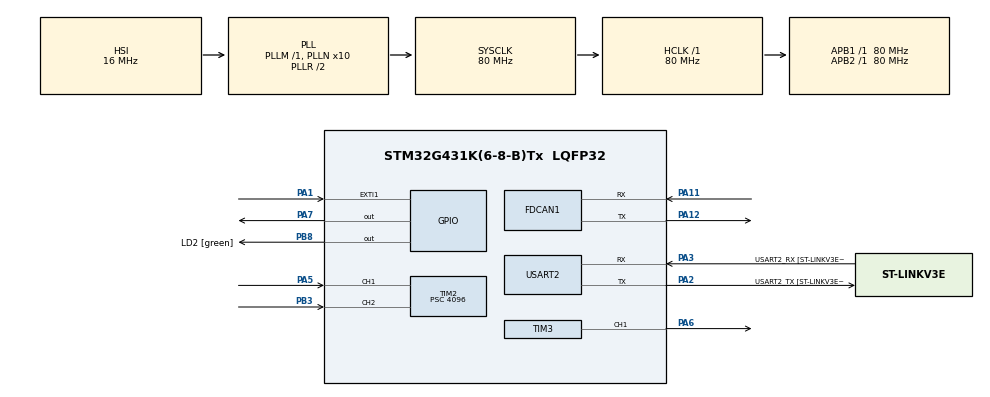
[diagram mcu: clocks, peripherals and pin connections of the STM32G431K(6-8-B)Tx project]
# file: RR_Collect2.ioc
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FDCAN1.CalculateBaudRateNominal=1000000
FDCAN1.CalculateTimeBitNominal=1000
FDCAN1.CalculateTimeQuantumNominal=62.5
FDCAN1.DataPrescaler=2
FDCAN1.DataSyncJumpWidth=2
FDCAN1.DataTimeSeg1=10
FDCAN1.DataTimeSeg2=9
FDCAN1.FrameFormat=FDCAN_FRAME_FD_BRS
FDCAN1.NominalPrescaler=5
FDCAN1.NominalSyncJumpWidth=2
FDCAN1.NominalTimeSeg1=13
FDCAN1.StdFiltersNbr=1
Mcu.Family=STM32G4
Mcu.Name=STM32G431K(6-8-B)Tx
Mcu.Package=LQFP32
NVIC.EXTI1_IRQn=true\:1\:0\:true\:false\:true\:true\:true\:true
NVIC.FDCAN1_IT0_IRQn=true\:0\:0\:false\:false\:true\:true\:true\:true
NVIC.PriorityGroup=NVIC_PRIORITYGROUP_4
PA1.GPIO_PuPd=GPIO_PULLDOWN
PA1.Signal=GPXTI1
PA11.Mode=FDCAN_Activate
PA11.Signal=FDCAN1_RX
PA12.Mode=FDCAN_Activate
PA12.Signal=FDCAN1_TX
PA13.GPIO_Label=T_SWDIO
PA13.Mode=Serial_Wire
PA13.Signal=SYS_JTMS-SWDIO
PA14.GPIO_Label=T_SWCLK
PA14.Mode=Serial_Wire
PA14.Signal=SYS_JTCK-SWCLK
PA2.GPIO_Label=USART2_TX [ST-LINKV3E_VCP_RX]
PA2.Mode=Asynchronous
PA2.Signal=USART2_TX
PA3.GPIO_Label=USART2_RX [ST-LINKV3E_VCP_TX]
PA3.Mode=Asynchronous
PA3.Signal=USART2_RX
PA5.Signal=S_TIM2_CH1
PA6.Signal=S_TIM3_CH1
PA7.Signal=GPIO_Output
PB3.Signal=S_TIM2_CH2
PB8-BOOT0.GPIO_Label=LD2 [green]
PB8-BOOT0.Signal=GPIO_Output
ProjectManager.HeapSize=0x200
ProjectManager.StackSize=0x400
ProjectManager.TargetToolchain=STM32CubeIDE
RCC.ADC12Freq_Value=80000000
RCC.AHBFreq_Value=80000000
RCC.APB1Freq_Value=80000000
RCC.APB1TimFreq_Value=80000000
RCC.APB2Freq_Value=80000000
RCC.APB2TimFreq_Value=80000000
RCC.CortexFreq_Value=80000000
RCC.EXTERNAL_CLOCK_VALUE=12288000
RCC.HCLKFreq_Value=80000000
RCC.HSE_VALUE=8000000
RCC.HSI48_VALUE=48000000
RCC.HSI_VALUE=16000000
RCC.LSE_VALUE=32768
RCC.PLLN=10
RCC.SYSCLKFreq_VALUE=80000000
RCC.SYSCLKSource=RCC_SYSCLKSOURCE_PLLCLK
RCC.USBFreq_Value=80000000
RCC.VCOOutputFreq_Value=160000000
SH.S_TIM2_CH1.0=TIM2_CH1,Encoder_Interface
SH.S_TIM2_CH2.0=TIM2_CH2,Encoder_Interface
SH.S_TIM3_CH1.0=TIM3_CH1,PWM Generation1 CH1
TIM2.CounterMode=TIM_COUNTERMODE_UP
TIM2.EncoderMode=TIM_ENCODERMODE_TI12
TIM2.Prescaler=4096
TIM3.Channel-PWM\ Generation1\ CH1=TIM_CHANNEL_1
TIM3.PeriodNoDither=99
TIM3.Prescaler=79
USART2.VirtualMode-Asynchronous=VM_ASYNC
USART2.WordLength=WORDLENGTH_8B
VP_TIM3_VS_ClockSourceINT.Mode=Internal
board=NUCLEO-G431KB

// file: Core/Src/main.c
/* USER CODE BEGIN Header */
/**
  ******************************************************************************
  * @file           : main.c
  * @brief          : Main program body
  ******************************************************************************
  * @attention
  *
  * Copyright (c) 2023 STMicroelectronics.
  * All rights reserved.
  *
  * This software is licensed under terms that can be found in the LICENSE file
  * in the root directory of this software component.
  * If no LICENSE file comes with this software, it is provided AS-IS.
  *
  ******************************************************************************
  */

/**
 *****************************
 *  回収機構の直動機構のプログラム　*
 *****************************
**/
/* USER CODE END Header */
#include "main.h"

FDCAN_HandleTypeDef hfdcan1;

TIM_HandleTypeDef htim2;
TIM_HandleTypeDef htim3;

UART_HandleTypeDef huart2;

/* USER CODE BEGIN PV */

int origin = 0; //原点を取ったかのフラグ
int cnt = 0; //エンコーダーの値をカウントするプログラム
int flag = 0; //どの操作を実行するかのフラグ

FDCAN_TxHeaderTypeDef TxHeader;
FDCAN_RxHeaderTypeDef RxHeader;
FDCAN_FilterTypeDef sFilterConfig;

uint8_t TxData[1];
uint8_t RxData[1];
uint32_t TxMailbox;
/* USER CODE END PV */

void SystemClock_Config(void);
static void MX_GPIO_Init(void);
static void MX_USART2_UART_Init(void);
static void MX_TIM3_Init(void);
static void MX_TIM2_Init(void);
static void MX_FDCAN1_Init(void);

/* USER CODE BEGIN 0 */

void HAL_GPIO_EXTI_Callback(uint16_t GPIO_Pin){//リミットスイッチを押したとき

	if (GPIO_Pin == GPIO_PIN_1 && origin == 0){
		__HAL_GPIO_EXTI_CLEAR_FLAG(GPIO_PIN_1);
		__HAL_TIM_SET_COMPARE(&htim3, TIM_CHANNEL_1, 0);
		HAL_GPIO_WritePin(GPIOA, GPIO_PIN_7, GPIO_PIN_RESET);
		origin = 1;
		flag = 5;
		HAL_TIM_Encoder_Start(&htim2, TIM_CHANNEL_ALL);

	}
}

/* USER CODE END 0 */

int main(void)
{

  /* MCU Configuration--------------------------------------------------------*/

  /* Reset of all peripherals, Initializes the Flash interface and the Systick. */
  HAL_Init();

  /* Configure the system clock */
  SystemClock_Config();

  /* Initialize all configured peripherals */
  MX_GPIO_Init();
  MX_USART2_UART_Init();
  MX_TIM3_Init();
  MX_TIM2_Init();
  MX_FDCAN1_Init();
  /* USER CODE BEGIN 2 */

  __HAL_TIM_SET_COMPARE(&htim3, TIM_CHANNEL_1, 0);
  HAL_GPIO_WritePin(GPIOA, GPIO_PIN_7, GPIO_PIN_SET);
  HAL_TIM_PWM_Start(&htim3, TIM_CHANNEL_1);

    TxHeader.Identifier = 0x513;
    TxHeader.IdType = FDCAN_STANDARD_ID;
    TxHeader.TxFrameType = FDCAN_DATA_FRAME;
    TxHeader.DataLength = FDCAN_DLC_BYTES_1;
    TxHeader.ErrorStateIndicator = FDCAN_ESI_ACTIVE;
    TxHeader.BitRateSwitch = FDCAN_BRS_ON;
    TxHeader.FDFormat = FDCAN_FD_CAN;
    TxHeader.TxEventFifoControl = FDCAN_NO_TX_EVENTS;
    TxHeader.MessageMarker = 0;

    FDCAN_FilterTypeDef sFilterConfig;
    sFilterConfig.IdType = FDCAN_STANDARD_ID;
    sFilterConfig.FilterIndex = 0;
    sFilterConfig.FilterType = FDCAN_FILTER_DUAL;
    sFilterConfig.FilterConfig = FDCAN_FILTER_TO_RXFIFO0;
    sFilterConfig.FilterID1 = 0x051;
    sFilterConfig.FilterID2 = 0x323;

    __HAL_TIM_SET_COMPARE(&htim3, TIM_CHANNEL_1, 0);
    HAL_GPIO_WritePin(GPIOA, GPIO_PIN_7, GPIO_PIN_RESET);
    HAL_TIM_PWM_Start(&htim3, TIM_CHANNEL_1);
    __HAL_GPIO_EXTI_CLEAR_FLAG(GPIO_PIN_1);
  /* USER CODE END 2 */

  /* Infinite loop */
  while (1)
  {

    /* USER CODE BEGIN 3 */
	if(flag == 1){//原点出し
		HAL_GPIO_WritePin(GPIOA, GPIO_PIN_7, GPIO_PIN_SET);
		__HAL_TIM_SET_COMPARE(&htim3, TIM_CHANNEL_1, 60);
		flag = 0;
	}

	if(flag == 5){
		HAL_GPIO_WritePin(GPIOA, GPIO_PIN_7, GPIO_PIN_RESET);
		__HAL_TIM_SET_COMPARE(&htim3, TIM_CHANNEL_1, 60);
		cnt = abs(__HAL_TIM_GET_COUNTER(&htim2));
		if(cnt == 215){
			__HAL_TIM_SET_COMPARE(&htim3, TIM_CHANNEL_1, 0);
			flag = 0;
		}
	}

	if(flag == 2){ //回収機構をリングにの上に移動
		HAL_GPIO_WritePin(GPIOA, GPIO_PIN_7, GPIO_PIN_RESET);
		__HAL_TIM_SET_COMPARE(&htim3, TIM_CHANNEL_1, 60);
		cnt = abs(__HAL_TIM_GET_COUNTER(&htim2));

		if(cnt == 600){
			__HAL_TIM_SET_COMPARE(&htim3, TIM_CHANNEL_1, 0);
			flag = 0;
		}

        // 次の行程へCAN通信
        TxHeader.Identifier = 0x322;
        TxData[0] = 0x02;
        if (HAL_FDCAN_AddMessageToTxFifoQ(&hfdcan1, &TxHeader, TxData) != HAL_OK)
        {
            Error_Handler();
        }
	}

	if(flag == 3){ //回収機構をリングを置く台に移動
		HAL_GPIO_WritePin(GPIOA, GPIO_PIN_7, GPIO_PIN_SET);
		__HAL_TIM_SET_COMPARE(&htim3, TIM_CHANNEL_1, 60);
		cnt = abs(__HAL_TIM_GET_COUNTER(&htim2));

		if(cnt == 5){
			__HAL_TIM_SET_COMPARE(&htim3, TIM_CHANNEL_1, 0);
			flag = 0;
		}

        // 次の行程へCAN通信
        TxHeader.Identifier = 0x322;
        TxData[0] = 0x03;
        if (HAL_FDCAN_AddMessageToTxFifoQ(&hfdcan1, &TxHeader, TxData) != HAL_OK)
        {
            Error_Handler();
        }
	}

	if(flag == 4){ //回収機構をリングを置く台から機構の外に移動
		HAL_GPIO_WritePin(GPIOA, GPIO_PIN_7, GPIO_PIN_RESET);
		__HAL_TIM_SET_COMPARE(&htim3, TIM_CHANNEL_1, 60);
		cnt = abs(__HAL_TIM_GET_COUNTER(&htim2));

		if(cnt == 600){
			__HAL_TIM_SET_COMPARE(&htim3, TIM_CHANNEL_1, 0);
			flag = 0;
		}

        // 次の行程へCAN通信
        TxHeader.Identifier = 0x324;
        TxData[0] = 0x02;
        if (HAL_FDCAN_AddMessageToTxFifoQ(&hfdcan1, &TxHeader, TxData) != HAL_OK)
        {
            Error_Handler();
        }
	}
  }

  /* USER CODE END 3 */
}

void SystemClock_Config(void)
{
  RCC_OscInitTypeDef RCC_OscInitStruct = {0};
  RCC_ClkInitTypeDef RCC_ClkInitStruct = {0};

  /** Configure the main internal regulator output voltage
  */
  HAL_PWREx_ControlVoltageScaling(PWR_REGULATOR_VOLTAGE_SCALE1);

  /** Initializes the RCC Oscillators according to the specified parameters
  * in the RCC_OscInitTypeDef structure.
  */
  RCC_OscInitStruct.OscillatorType = RCC_OSCILLATORTYPE_HSI;
  RCC_OscInitStruct.HSIState = RCC_HSI_ON;
  RCC_OscInitStruct.HSICalibrationValue = RCC_HSICALIBRATION_DEFAULT;
  RCC_OscInitStruct.PLL.PLLState = RCC_PLL_ON;
  RCC_OscInitStruct.PLL.PLLSource = RCC_PLLSOURCE_HSI;
  RCC_OscInitStruct.PLL.PLLM = RCC_PLLM_DIV1;
  RCC_OscInitStruct.PLL.PLLN = 10;
  RCC_OscInitStruct.PLL.PLLP = RCC_PLLP_DIV2;
  RCC_OscInitStruct.PLL.PLLQ = RCC_PLLQ_DIV2;
  RCC_OscInitStruct.PLL.PLLR = RCC_PLLR_DIV2;
  if (HAL_RCC_OscConfig(&RCC_OscInitStruct) != HAL_OK)
  {
    Error_Handler();
  }

  /** Initializes the CPU, AHB and APB buses clocks
  */
  RCC_ClkInitStruct.ClockType = RCC_CLOCKTYPE_HCLK|RCC_CLOCKTYPE_SYSCLK
                              |RCC_CLOCKTYPE_PCLK1|RCC_CLOCKTYPE_PCLK2;
  RCC_ClkInitStruct.SYSCLKSource = RCC_SYSCLKSOURCE_PLLCLK;
  RCC_ClkInitStruct.AHBCLKDivider = RCC_SYSCLK_DIV1;
  RCC_ClkInitStruct.APB1CLKDivider = RCC_HCLK_DIV1;
  RCC_ClkInitStruct.APB2CLKDivider = RCC_HCLK_DIV1;

  if (HAL_RCC_ClockConfig(&RCC_ClkInitStruct, FLASH_LATENCY_2) != HAL_OK)
  {
    Error_Handler();
  }
}

static void MX_FDCAN1_Init(void)
{

  hfdcan1.Instance = FDCAN1;
  hfdcan1.Init.ClockDivider = FDCAN_CLOCK_DIV1;
  hfdcan1.Init.FrameFormat = FDCAN_FRAME_FD_BRS;
  hfdcan1.Init.Mode = FDCAN_MODE_NORMAL;
  hfdcan1.Init.AutoRetransmission = DISABLE;
  hfdcan1.Init.TransmitPause = DISABLE;
  hfdcan1.Init.ProtocolException = DISABLE;
  hfdcan1.Init.NominalPrescaler = 5;
  hfdcan1.Init.NominalSyncJumpWidth = 2;
  hfdcan1.Init.NominalTimeSeg1 = 13;
  hfdcan1.Init.NominalTimeSeg2 = 2;
  hfdcan1.Init.DataPrescaler = 2;
  hfdcan1.Init.DataSyncJumpWidth = 2;
  hfdcan1.Init.DataTimeSeg1 = 10;
  hfdcan1.Init.DataTimeSeg2 = 9;
  hfdcan1.Init.StdFiltersNbr = 1;
  hfdcan1.Init.ExtFiltersNbr = 0;
  hfdcan1.Init.TxFifoQueueMode = FDCAN_TX_FIFO_OPERATION;
  if (HAL_FDCAN_Init(&hfdcan1) != HAL_OK)
  {
    Error_Handler();
  }

}

static void MX_TIM2_Init(void)
{

  TIM_Encoder_InitTypeDef sConfig = {0};
  TIM_MasterConfigTypeDef sMasterConfig = {0};

  htim2.Instance = TIM2;
  htim2.Init.Prescaler = 4096;
  htim2.Init.CounterMode = TIM_COUNTERMODE_UP;
  htim2.Init.Period = 4.294967295E9;
  htim2.Init.ClockDivision = TIM_CLOCKDIVISION_DIV1;
  htim2.Init.AutoReloadPreload = TIM_AUTORELOAD_PRELOAD_DISABLE;
  sConfig.EncoderMode = TIM_ENCODERMODE_TI12;
  sConfig.IC1Polarity = TIM_ICPOLARITY_RISING;
  sConfig.IC1Selection = TIM_ICSELECTION_DIRECTTI;
  sConfig.IC1Prescaler = TIM_ICPSC_DIV1;
  sConfig.IC1Filter = 0;
  sConfig.IC2Polarity = TIM_ICPOLARITY_RISING;
  sConfig.IC2Selection = TIM_ICSELECTION_DIRECTTI;
  sConfig.IC2Prescaler = TIM_ICPSC_DIV1;
  sConfig.IC2Filter = 0;
  if (HAL_TIM_Encoder_Init(&htim2, &sConfig) != HAL_OK)
  {
    Error_Handler();
  }
  sMasterConfig.MasterOutputTrigger = TIM_TRGO_RESET;
  sMasterConfig.MasterSlaveMode = TIM_MASTERSLAVEMODE_DISABLE;
  if (HAL_TIMEx_MasterConfigSynchronization(&htim2, &sMasterConfig) != HAL_OK)
  {
    Error_Handler();
  }

}

static void MX_TIM3_Init(void)
{

  TIM_ClockConfigTypeDef sClockSourceConfig = {0};
  TIM_MasterConfigTypeDef sMasterConfig = {0};
  TIM_OC_InitTypeDef sConfigOC = {0};

  htim3.Instance = TIM3;
  htim3.Init.Prescaler = 79;
  htim3.Init.CounterMode = TIM_COUNTERMODE_UP;
  htim3.Init.Period = 99;
  htim3.Init.ClockDivision = TIM_CLOCKDIVISION_DIV1;
  htim3.Init.AutoReloadPreload = TIM_AUTORELOAD_PRELOAD_DISABLE;
  if (HAL_TIM_Base_Init(&htim3) != HAL_OK)
  {
    Error_Handler();
  }
  sClockSourceConfig.ClockSource = TIM_CLOCKSOURCE_INTERNAL;
  if (HAL_TIM_ConfigClockSource(&htim3, &sClockSourceConfig) != HAL_OK)
  {
    Error_Handler();
  }
  if (HAL_TIM_PWM_Init(&htim3) != HAL_OK)
  {
    Error_Handler();
  }
  sMasterConfig.MasterOutputTrigger = TIM_TRGO_RESET;
  sMasterConfig.MasterSlaveMode = TIM_MASTERSLAVEMODE_DISABLE;
  if (HAL_TIMEx_MasterConfigSynchronization(&htim3, &sMasterConfig) != HAL_OK)
  {
    Error_Handler();
  }
  sConfigOC.OCMode = TIM_OCMODE_PWM1;
  sConfigOC.Pulse = 0;
  sConfigOC.OCPolarity = TIM_OCPOLARITY_HIGH;
  sConfigOC.OCFastMode = TIM_OCFAST_DISABLE;
  if (HAL_TIM_PWM_ConfigChannel(&htim3, &sConfigOC, TIM_CHANNEL_1) != HAL_OK)
  {
    Error_Handler();
  }
  HAL_TIM_MspPostInit(&htim3);

}

static void MX_USART2_UART_Init(void)
{

  huart2.Instance = USART2;
  huart2.Init.BaudRate = 115200;
  huart2.Init.WordLength = UART_WORDLENGTH_8B;
  huart2.Init.StopBits = UART_STOPBITS_1;
  huart2.Init.Parity = UART_PARITY_NONE;
  huart2.Init.Mode = UART_MODE_TX_RX;
  huart2.Init.HwFlowCtl = UART_HWCONTROL_NONE;
  huart2.Init.OverSampling = UART_OVERSAMPLING_16;
  huart2.Init.OneBitSampling = UART_ONE_BIT_SAMPLE_DISABLE;
  huart2.Init.ClockPrescaler = UART_PRESCALER_DIV1;
  huart2.AdvancedInit.AdvFeatureInit = UART_ADVFEATURE_NO_INIT;
  if (HAL_UART_Init(&huart2) != HAL_OK)
  {
    Error_Handler();
  }
  if (HAL_UARTEx_SetTxFifoThreshold(&huart2, UART_TXFIFO_THRESHOLD_1_8) != HAL_OK)
  {
    Error_Handler();
  }
  if (HAL_UARTEx_SetRxFifoThreshold(&huart2, UART_RXFIFO_THRESHOLD_1_8) != HAL_OK)
  {
    Error_Handler();
  }
  if (HAL_UARTEx_DisableFifoMode(&huart2) != HAL_OK)
  {
    Error_Handler();
  }

}

static void MX_GPIO_Init(void)
{
  GPIO_InitTypeDef GPIO_InitStruct = {0};

  /* GPIO Ports Clock Enable */
  __HAL_RCC_GPIOA_CLK_ENABLE();
  __HAL_RCC_GPIOB_CLK_ENABLE();

  /*Configure GPIO pin Output Level */
  HAL_GPIO_WritePin(GPIOA, GPIO_PIN_7, GPIO_PIN_RESET);

  /*Configure GPIO pin Output Level */
  HAL_GPIO_WritePin(LD2_GPIO_Port, LD2_Pin, GPIO_PIN_RESET);

  /*Configure GPIO pin : PA1 */
  GPIO_InitStruct.Pin = GPIO_PIN_1;
  GPIO_InitStruct.Mode = GPIO_MODE_IT_RISING;
  GPIO_InitStruct.Pull = GPIO_PULLDOWN;
  HAL_GPIO_Init(GPIOA, &GPIO_InitStruct);

  /*Configure GPIO pin : PA7 */
  GPIO_InitStruct.Pin = GPIO_PIN_7;
  GPIO_InitStruct.Mode = GPIO_MODE_OUTPUT_PP;
  GPIO_InitStruct.Pull = GPIO_NOPULL;
  GPIO_InitStruct.Speed = GPIO_SPEED_FREQ_LOW;
  HAL_GPIO_Init(GPIOA, &GPIO_InitStruct);

  /*Configure GPIO pin : LD2_Pin */
  GPIO_InitStruct.Pin = LD2_Pin;
  GPIO_InitStruct.Mode = GPIO_MODE_OUTPUT_PP;
  GPIO_InitStruct.Pull = GPIO_NOPULL;
  GPIO_InitStruct.Speed = GPIO_SPEED_FREQ_LOW;
  HAL_GPIO_Init(LD2_GPIO_Port, &GPIO_InitStruct);

  /* EXTI interrupt init*/
  HAL_NVIC_SetPriority(EXTI1_IRQn, 1, 0);
  HAL_NVIC_EnableIRQ(EXTI1_IRQn);

}

/* USER CODE BEGIN 4 */
void HAL_FDCAN_RxFifo0Callback(FDCAN_HandleTypeDef *hfdcan1, uint32_t RxFifo0ITs) {
    if ((RxFifo0ITs & FDCAN_IT_RX_FIFO0_NEW_MESSAGE) != RESET) {
        /* Retrieve Rx messages from RX FIFO0 */
        if (HAL_FDCAN_GetRxMessage(hfdcan1, FDCAN_RX_FIFO0, &RxHeader, RxData) != HAL_OK) {
            Error_Handler();
        }

        if ((RxHeader.Identifier == 0x323)) {
            if (RxData[0] == 0x001){
                flag = 1;
            } else if (RxData[0] == 0x002){
                flag = 2;
            } else if (RxData[0] == 0x003){
                flag = 3;
            } else if (RxData[0] == 0x004){
                flag = 4;
            }
        }
        if ((RxHeader.Identifier == 0x051)) {
            flag = 1;
        }
    }
}
/* USER CODE END 4 */

void Error_Handler(void)
{
  __disable_irq();
  while (1)
  {
  }
}
